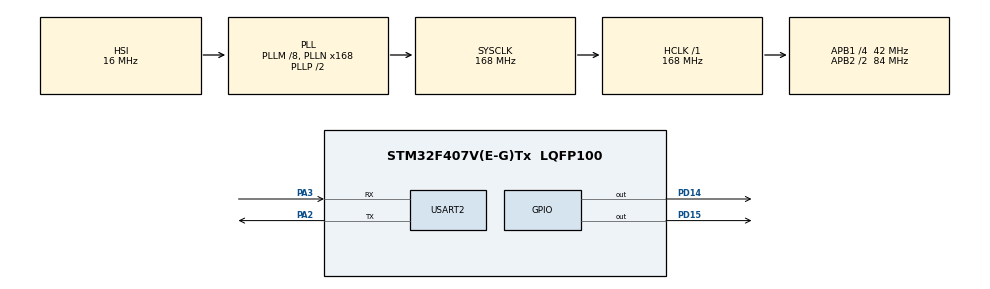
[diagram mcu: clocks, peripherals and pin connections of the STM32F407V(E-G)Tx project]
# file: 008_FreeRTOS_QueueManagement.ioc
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Mcu.Family=STM32F4
Mcu.Name=STM32F407V(E-G)Tx
Mcu.Package=LQFP100
NVIC.PriorityGroup=NVIC_PRIORITYGROUP_4
NVIC.TIM6_DAC_IRQn=true\:15\:0\:false\:false\:true\:false\:true\:true
NVIC.TimeBase=TIM6_DAC_IRQn
NVIC.TimeBaseIP=TIM6
NVIC.USART2_IRQn=true\:0\:0\:false\:false\:true\:true\:true\:true
PA13.Mode=Serial_Wire
PA13.Signal=SYS_JTMS-SWDIO
PA14.Mode=Serial_Wire
PA14.Signal=SYS_JTCK-SWCLK
PA2.Mode=Asynchronous
PA2.Signal=USART2_TX
PA3.Mode=Asynchronous
PA3.Signal=USART2_RX
PD14.Signal=GPIO_Output
PD15.Signal=GPIO_Output
PH0-OSC_IN.Mode=HSE-External-Oscillator
PH0-OSC_IN.Signal=RCC_OSC_IN
PH1-OSC_OUT.Mode=HSE-External-Oscillator
PH1-OSC_OUT.Signal=RCC_OSC_OUT
ProjectManager.HeapSize=0x200
ProjectManager.StackSize=0x400
ProjectManager.TargetToolchain=STM32CubeIDE
RCC.48MHZClocksFreq_Value=48000000
RCC.AHBFreq_Value=168000000
RCC.APB1CLKDivider=RCC_HCLK_DIV4
RCC.APB1Freq_Value=42000000
RCC.APB1TimFreq_Value=84000000
RCC.APB2CLKDivider=RCC_HCLK_DIV2
RCC.APB2Freq_Value=84000000
RCC.APB2TimFreq_Value=168000000
RCC.CortexFreq_Value=168000000
RCC.HCLKFreq_Value=168000000
RCC.HSE_VALUE=8000000
RCC.HSI_VALUE=16000000
RCC.LSE_VALUE=32768
RCC.PLLM=8
RCC.PLLN=168
RCC.PLLQ=7
RCC.SYSCLKFreq_VALUE=168000000
RCC.SYSCLKSource=RCC_SYSCLKSOURCE_PLLCLK
RCC.VCOOutputFreq_Value=336000000
USART2.VirtualMode=VM_ASYNC
VP_SYS_VS_tim6.Mode=TIM6
board=STM32F407G-DISC1

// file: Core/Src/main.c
/* USER CODE BEGIN Header */
/**
 ******************************************************************************
 * @file           : main.c
 * @brief          : Main program body
 ******************************************************************************
 * @attention
 *
 * <h2><center>&copy; Copyright (c) 2021 STMicroelectronics.
 * All rights reserved.</center></h2>
 *
 * This software component is licensed by ST under BSD 3-Clause license,
 * the "License"; You may not use this file except in compliance with the
 * License. You may obtain a copy of the License at:
 *                        opensource.org/licenses/BSD-3-Clause
 *
 ******************************************************************************
 */
/* USER CODE END Header */
#include "main.h"

/* USER CODE BEGIN Includes */
#include <stdio.h>
// FreeRTOS library
#include "FreeRTOS.h"
#include "task.h"
#include "queue.h"
#include "timers.h"
/* USER CODE END Includes */

/* USER CODE BEGIN PTD */
typedef struct {
	uint8_t CMD_num;
	uint8_t CMD_args[8];
} APP_CMD_t;
/* USER CODE END PTD */

/* USER CODE BEGIN PD */
#define LED_ON 1
#define LED_TOUGLE 2
/* USER CODE END PD */

UART_HandleTypeDef huart2;

/* USER CODE BEGIN PV */
TaskHandle_t task1_handle = NULL;
TaskHandle_t task2_handle = NULL;
TaskHandle_t task3_handle = NULL;
TaskHandle_t task4_handle = NULL;

QueueHandle_t command_queue = NULL;
QueueHandle_t uart_write_queue = NULL;

TimerHandle_t led_timer;

char uart_msg[250] = { 0 };

char command_buffer[250];
uint32_t command_len = 0;
char rdata;

char menu[] = {" \
		\r\nLED_ON	    --> 1\
		\r\nLED_OFF	    --> 2\
		\r\nLED_TOUGLE	--> 3\
		\r\nType of your option here: "};
/* USER CODE END PV */

void SystemClock_Config(void);
static void MX_GPIO_Init(void);
static void MX_USART2_UART_Init(void);
/* USER CODE BEGIN PFP */

static void task1_menu_display(void *parameters);
static void task2_cmd_handling(void *parameters);
static void task3_cmd_processing(void *parameters);
static void task4_uart_write(void *parameters);
void toggle_led( TimerHandle_t xTimer );
void led_toggle(void);
/* USER CODE END PFP */

int main(void)
{

  /* USER CODE BEGIN 1 */

	BaseType_t status;

  /* USER CODE END 1 */

  /* MCU Configuration--------------------------------------------------------*/

  /* Reset of all peripherals, Initializes the Flash interface and the Systick. */
  HAL_Init();

  /* Configure the system clock */
  SystemClock_Config();

  /* Initialize all configured peripherals */
  MX_GPIO_Init();
  MX_USART2_UART_Init();
  /* USER CODE BEGIN 2 */

	// uart
	if (HAL_UART_Receive_IT(&huart2, &rdata, 1) != HAL_OK) {
		Error_Handler();
	}

	// create queue
	command_queue = xQueueCreate(10, sizeof(APP_CMD_t*));

	uart_write_queue = xQueueCreate(10, sizeof(char*));

	if ((command_queue != NULL) && (uart_write_queue != NULL)) {
		status = xTaskCreate(task1_menu_display, "Task-1", 500,
		NULL, 2, &task1_handle);

		configASSERT(status == pdPASS);

		status = xTaskCreate(task2_cmd_handling, "Task-2", 500,
		NULL, 2, &task2_handle);
		configASSERT(status == pdPASS);

		status = xTaskCreate(task3_cmd_processing, "Task-3", 500,
		NULL, 2, &task3_handle);
		configASSERT(status == pdPASS);

		status = xTaskCreate(task4_uart_write, "Task-4", 500,
		NULL, 2, &task4_handle);
		configASSERT(status == pdPASS);

		//start the freeRTOS scheduler
		vTaskStartScheduler();
	} else {
		sprintf(uart_msg, "Queue created failed\n\r");
		HAL_UART_Transmit(&huart2, uart_msg, sizeof(uart_msg), HAL_MAX_DELAY);
	}

  /* USER CODE END 2 */

  /* Infinite loop */
	while (1) {

	}
}

void SystemClock_Config(void)
{
  RCC_OscInitTypeDef RCC_OscInitStruct = {0};
  RCC_ClkInitTypeDef RCC_ClkInitStruct = {0};

  /** Configure the main internal regulator output voltage
  */
  __HAL_RCC_PWR_CLK_ENABLE();
  __HAL_PWR_VOLTAGESCALING_CONFIG(PWR_REGULATOR_VOLTAGE_SCALE1);

  /** Initializes the RCC Oscillators according to the specified parameters
  * in the RCC_OscInitTypeDef structure.
  */
  RCC_OscInitStruct.OscillatorType = RCC_OSCILLATORTYPE_HSI;
  RCC_OscInitStruct.HSIState = RCC_HSI_ON;
  RCC_OscInitStruct.HSICalibrationValue = RCC_HSICALIBRATION_DEFAULT;
  RCC_OscInitStruct.PLL.PLLState = RCC_PLL_ON;
  RCC_OscInitStruct.PLL.PLLSource = RCC_PLLSOURCE_HSI;
  RCC_OscInitStruct.PLL.PLLM = 8;
  RCC_OscInitStruct.PLL.PLLN = 168;
  RCC_OscInitStruct.PLL.PLLP = RCC_PLLP_DIV2;
  RCC_OscInitStruct.PLL.PLLQ = 7;
  if (HAL_RCC_OscConfig(&RCC_OscInitStruct) != HAL_OK)
  {
    Error_Handler();
  }

  /** Initializes the CPU, AHB and APB buses clocks
  */
  RCC_ClkInitStruct.ClockType = RCC_CLOCKTYPE_HCLK|RCC_CLOCKTYPE_SYSCLK
                              |RCC_CLOCKTYPE_PCLK1|RCC_CLOCKTYPE_PCLK2;
  RCC_ClkInitStruct.SYSCLKSource = RCC_SYSCLKSOURCE_PLLCLK;
  RCC_ClkInitStruct.AHBCLKDivider = RCC_SYSCLK_DIV1;
  RCC_ClkInitStruct.APB1CLKDivider = RCC_HCLK_DIV4;
  RCC_ClkInitStruct.APB2CLKDivider = RCC_HCLK_DIV2;

  if (HAL_RCC_ClockConfig(&RCC_ClkInitStruct, FLASH_LATENCY_5) != HAL_OK)
  {
    Error_Handler();
  }
}

static void MX_USART2_UART_Init(void)
{

  huart2.Instance = USART2;
  huart2.Init.BaudRate = 115200;
  huart2.Init.WordLength = UART_WORDLENGTH_8B;
  huart2.Init.StopBits = UART_STOPBITS_1;
  huart2.Init.Parity = UART_PARITY_NONE;
  huart2.Init.Mode = UART_MODE_TX_RX;
  huart2.Init.HwFlowCtl = UART_HWCONTROL_NONE;
  huart2.Init.OverSampling = UART_OVERSAMPLING_16;
  if (HAL_UART_Init(&huart2) != HAL_OK)
  {
    Error_Handler();
  }

}

static void MX_GPIO_Init(void)
{
  GPIO_InitTypeDef GPIO_InitStruct = {0};

  /* GPIO Ports Clock Enable */
  __HAL_RCC_GPIOH_CLK_ENABLE();
  __HAL_RCC_GPIOA_CLK_ENABLE();
  __HAL_RCC_GPIOD_CLK_ENABLE();

  /*Configure GPIO pin Output Level */
  HAL_GPIO_WritePin(GPIOD, GPIO_PIN_14|GPIO_PIN_15, GPIO_PIN_RESET);

  /*Configure GPIO pins : PD14 PD15 */
  GPIO_InitStruct.Pin = GPIO_PIN_14|GPIO_PIN_15;
  GPIO_InitStruct.Mode = GPIO_MODE_OUTPUT_PP;
  GPIO_InitStruct.Pull = GPIO_NOPULL;
  GPIO_InitStruct.Speed = GPIO_SPEED_FREQ_LOW;
  HAL_GPIO_Init(GPIOD, &GPIO_InitStruct);

}

/* USER CODE BEGIN 4 */

static void task1_menu_display(void *parameters) {

	char *pdata = menu;
	while (1)
	{
		xQueueSend(uart_write_queue, pdata, portMAX_DELAY);
		xTaskNotifyWait(0, 0, NULL, portMAX_DELAY);
	}

}
static void task2_cmd_handling(void *parameters) {
//	uint8_t command_code = 0;
//
//	APP_CMD_t *new_cmd;
//	while (1) {
//		xTaskNotifyWait(0,0,NULL, portMAX_DELAY);
//		command_code = getCommandCode(command_buff);
//		new_cmd = (APP_CMD_t*)pvPortMalloc(sizeof(APP_CMD_t));
//		new_cmd->CMD_num = command_code;
//		getArguments(new_cmd->CMD_args);
//
//		// queue send
//		xQueueSend(command_queue, &new_cmd, portMAX_DELAY);
//	}

}
static void task3_cmd_processing(void *parameters) {

	APP_CMD_t *new_cmd;
	while (1) {
		xQueueReceive(command_queue, &new_cmd, portMAX_DELAY);
		if(new_cmd->CMD_num == LED_TOUGLE)
		{
			led_toggle();
		}else if(new_cmd->CMD_num == LED_ON)
		{
			HAL_GPIO_WritePin(GPIOD, GPIO_PIN_15, GPIO_PIN_SET);
		}else	// LED_OFF
		{
			HAL_GPIO_WritePin(GPIOD, GPIO_PIN_15, GPIO_PIN_RESET);
		}
	}

}
static void task4_uart_write(void *parameters) {
	char *buff = NULL;
	while (1) {
		xQueueReceive(uart_write_queue, &buff, portMAX_DELAY);
		HAL_UART_Transmit(&huart2, buff, sizeof(buff), HAL_MAX_DELAY);
	}

}

// uart callback function
void HAL_UART_RxCpltCallback(UART_HandleTypeDef *huart) {
	command_buffer[command_len++] = (rdata & 0xff);
	BaseType_t pxHigherPriorityTaskWoken = pdFALSE;
	if (HAL_UART_Receive_IT(&huart2, &rdata, 1) != HAL_OK) {
		Error_Handler();
	}
	if(rdata == "\r")
	{
		// notify to task
		xTaskNotifyFromISR(task2_handle, 0, eNoAction, pxHigherPriorityTaskWoken);
		xTaskNotifyFromISR(task1_handle, 0, eNoAction, pxHigherPriorityTaskWoken);
	}
	if(pxHigherPriorityTaskWoken)
	{
		taskYIELD();
	}
}

void toggle_led_start( TimerHandle_t xTimer )
{
	HAL_GPIO_TogglePin(GPIOD, GPIO_PIN_15);
}

void toggle_led_stop( TimerHandle_t xTimer )
{
	xTimerStop(led_timer, portMAX_DELAY);
}

void led_toggle(void)
{
	// created sw timer
	led_timer = xTimerCreate("LED_TOGGLE", pdMS_TO_TICKS(200), pdTRUE, (void*)0, toggle_led_start);
	// start sw timer
	xTimerStart(led_timer, portMAX_DELAY);
}

/* USER CODE END 4 */

void HAL_TIM_PeriodElapsedCallback(TIM_HandleTypeDef *htim)
{
  if (htim->Instance == TIM6) {
    HAL_IncTick();
  }
}

void Error_Handler(void)
{
}
